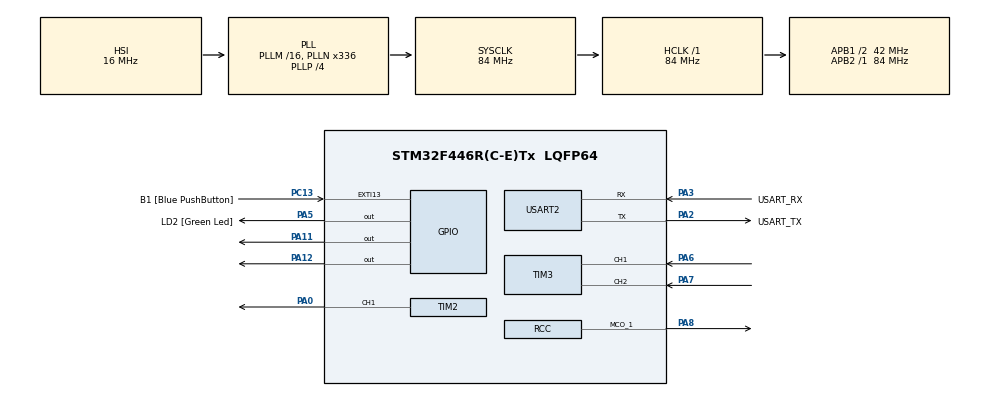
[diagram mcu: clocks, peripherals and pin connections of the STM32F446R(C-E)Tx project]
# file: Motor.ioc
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Mcu.Family=STM32F4
Mcu.Name=STM32F446R(C-E)Tx
Mcu.Package=LQFP64
NVIC.PriorityGroup=NVIC_PRIORITYGROUP_0
NVIC.TIM6_DAC_IRQn=true\:0\:0\:false\:false\:true\:true\:true\:true
PA0-WKUP.Signal=S_TIM2_CH1_ETR
PA11.Signal=GPIO_Output
PA12.Signal=GPIO_Output
PA13.GPIO_Label=TMS
PA13.Mode=Serial_Wire
PA13.Signal=SYS_JTMS-SWDIO
PA14.GPIO_Label=TCK
PA14.Mode=Serial_Wire
PA14.Signal=SYS_JTCK-SWCLK
PA2.GPIO_Label=USART_TX
PA2.Mode=Asynchronous
PA2.Signal=USART2_TX
PA3.GPIO_Label=USART_RX
PA3.Mode=Asynchronous
PA3.Signal=USART2_RX
PA5.GPIO_Label=LD2 [Green Led]
PA5.Signal=GPIO_Output
PA6.Signal=S_TIM3_CH1
PA7.Signal=S_TIM3_CH2
PA8.Mode=Clock-out-1
PA8.Signal=RCC_MCO_1
PB3.GPIO_Label=SWO
PB3.Signal=SYS_JTDO-SWO
PC13.GPIO_Label=B1 [Blue PushButton]
PC13.GPIO_ModeDefaultEXTI=GPIO_MODE_IT_FALLING
PC13.GPIO_PuPd=GPIO_NOPULL
PC13.Signal=GPXTI13
PC14-OSC32_IN.Mode=LSE-External-Oscillator
PC14-OSC32_IN.Signal=RCC_OSC32_IN
PC15-OSC32_OUT.Mode=LSE-External-Oscillator
PC15-OSC32_OUT.Signal=RCC_OSC32_OUT
PH0-OSC_IN.Mode=HSE-External-Oscillator
PH0-OSC_IN.Signal=RCC_OSC_IN
PH1-OSC_OUT.Mode=HSE-External-Oscillator
PH1-OSC_OUT.Signal=RCC_OSC_OUT
ProjectManager.HeapSize=0x200
ProjectManager.StackSize=0x400
ProjectManager.TargetToolchain=STM32CubeIDE
RCC.48MHZClocksFreq_Value=84000000
RCC.AHBFreq_Value=84000000
RCC.APB1CLKDivider=RCC_HCLK_DIV2
RCC.APB1Freq_Value=42000000
RCC.APB1TimFreq_Value=84000000
RCC.APB2Freq_Value=84000000
RCC.APB2TimFreq_Value=84000000
RCC.CortexFreq_Value=84000000
RCC.FLatency-AdvancedSettings=FLASH_LATENCY_2
RCC.HCLKFreq_Value=84000000
RCC.HSE_VALUE=8000000
RCC.HSI_VALUE=16000000
RCC.PLLN=336
RCC.PLLP=RCC_PLLP_DIV4
RCC.SYSCLKFreq_VALUE=84000000
RCC.SYSCLKSource=RCC_SYSCLKSOURCE_PLLCLK
RCC.USBFreq_Value=168000000
RCC.VCOOutputFreq_Value=336000000
SH.S_TIM2_CH1_ETR.0=TIM2_CH1,PWM Generation1 CH1
SH.S_TIM3_CH1.0=TIM3_CH1,Encoder_Interface
SH.S_TIM3_CH2.0=TIM3_CH2,Encoder_Interface
TIM2.AutoReloadPreload=TIM_AUTORELOAD_PRELOAD_ENABLE
TIM2.Channel-PWM\ Generation1\ CH1=TIM_CHANNEL_1
TIM2.Period=4199
TIM2.Prescaler=0
TIM2.Pulse-PWM\ Generation1\ CH1=0
TIM3.EncoderMode=TIM_ENCODERMODE_TI12
TIM3.IC1Polarity=TIM_ICPOLARITY_RISING
TIM6.Period=999
TIM6.Prescaler=8399
USART2.VirtualMode=VM_ASYNC
VP_TIM2_VS_ClockSourceINT.Mode=Internal
VP_TIM6_VS_ClockSourceINT.Mode=Enable_Timer
board=NUCLEO-F446RE

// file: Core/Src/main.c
/* USER CODE BEGIN Header */
/**
  ******************************************************************************
  * @file           : main.c
  * @brief          : Main program body
  ******************************************************************************
  * @attention
  *
  * Copyright (c) 2025 STMicroelectronics.
  * All rights reserved.
  *
  * This software is licensed under terms that can be found in the LICENSE file
  * in the root directory of this software component.
  * If no LICENSE file comes with this software, it is provided AS-IS.
  *
  ******************************************************************************
  */
/* USER CODE END Header */
#include "main.h"

/* USER CODE BEGIN Includes */
#include <stdio.h>
#include <math.h>
/* USER CODE END Includes */

TIM_HandleTypeDef htim2;
TIM_HandleTypeDef htim3;
TIM_HandleTypeDef htim6;

UART_HandleTypeDef huart2;

void SystemClock_Config(void);
static void MX_GPIO_Init(void);
static void MX_USART2_UART_Init(void);
static void MX_TIM3_Init(void);
static void MX_TIM6_Init(void);
static void MX_TIM2_Init(void);

/* USER CODE BEGIN 0 */
int __io_putchar(int ch)
{
  if (ch == '\n') {
    __io_putchar('\r');
  }
  HAL_UART_Transmit(&huart2, (uint8_t*)&ch, 1, HAL_MAX_DELAY);

  return 1;
}
static uint16_t CPR = 64;
static float tim6_period = 0.1;
static uint16_t ARR = 4199;

typedef struct {
	float Kp, Ki, Kd;
	float i_min, i_max;
}pid_controller;

float clamp(float value, float min, float max){
	if (value > max) return max;
	if (value < min) return min;
	return value;
}
void set_direction(int rpm_setpoint) {
    if (rpm_setpoint < 0 && HAL_GPIO_ReadPin(GPIOA, GPIO_PIN_12 != 1)) {
        // Reverse direction
        HAL_GPIO_WritePin(GPIOA, GPIO_PIN_12, GPIO_PIN_SET);
        HAL_GPIO_WritePin(GPIOA, GPIO_PIN_11, GPIO_PIN_RESET);
    } else if (rpm_setpoint >= 0 && HAL_GPIO_ReadPin(GPIOA, GPIO_PIN_12 != 0)){
        // Forward direction
        HAL_GPIO_WritePin(GPIOA, GPIO_PIN_12, GPIO_PIN_RESET);
        HAL_GPIO_WritePin(GPIOA, GPIO_PIN_11, GPIO_PIN_SET);
    }
}
float integral = 0.0;
float prev_error = 0.0;
volatile float rpm_measured;
volatile float prev_rpm_measured;
float error = 0;
float calculate_pwm(pid_controller* pid, int rpm_set){
	float rpm_target = abs(rpm_set);
	float rpm_actual = fabsf(rpm_measured);
	float prev_rpm_actual = fabsf(prev_rpm_measured);
	//Proportion
	error = rpm_target - rpm_actual;
	float p_error = error;

	if (fabsf(p_error) < 1.0f)
	    p_error = 0.0f;

	//Integral
	pid->i_max = ARR / pid->Ki;
	integral += error * tim6_period;

	integral = clamp(integral, pid->i_min, pid->i_max);

	//Derivative
	float derivative = (error - prev_error) / tim6_period;

	float pwm = (pid->Kp * p_error) + (pid->Ki * integral) + (pid->Kd * derivative);

	if(pwm > ARR) pwm = ARR;
	/*if(rpm_set > 0 && rpm_measured < 0){
		HAL_GPIO_TogglePin(GPIOA, GPIO_PIN_12);
		HAL_GPIO_TogglePin(GPIOA, GPIO_PIN_11);
	}*/
	prev_error = error;
	prev_rpm_measured = rpm_measured;
	return pwm;
}

uint16_t prev_pulse_count = 0;

pid_controller pid = {.Kp = 15.0, .Ki = 15.0, .Kd = 0.2, .i_min = 0, .i_max = 0};
int rpm_wanted = 50;
float pwm_calculated;
int time_passed;
int milisecond_passed;
uint16_t pulse_count;
void HAL_TIM_PeriodElapsedCallback(TIM_HandleTypeDef *htim)
{
  if (htim == &htim6) {
	  HAL_GPIO_TogglePin(GPIOA, GPIO_PIN_5);
	  /*pulse_count = __HAL_TIM_GET_COUNTER(&htim3);
	  int delta = (int)(pulse_count - prev_pulse_count);*/
	  int16_t delta = (int16_t)__HAL_TIM_GET_COUNTER(&htim3);
	  __HAL_TIM_SET_COUNTER(&htim3, 0);
	  float revolutions = delta / 20.0f;
	  //prev_pulse_count = pulse_count;
	  rpm_measured = (revolutions * 60)/ (CPR * tim6_period);
	  set_direction(rpm_wanted);
	  pwm_calculated = calculate_pwm(&pid, rpm_wanted);
	  printf("time: %d.%d\n", time_passed, milisecond_passed);
	  printf("rpm inpur: %d\n", rpm_wanted);
	  printf("rpm: %d\n", (int)rpm_measured);
	  __HAL_TIM_SET_COMPARE(&htim2, TIM_CHANNEL_1, pwm_calculated);
	  milisecond_passed += 1;
	  /*if (time_passed == 2)
		  rpm_wanted = 50;*/
	  if (milisecond_passed >= 10){
		  time_passed += 1;
		  milisecond_passed = 0;
	  }
  }
}

/* USER CODE END 0 */

int main(void)
{

  /* MCU Configuration--------------------------------------------------------*/

  /* Reset of all peripherals, Initializes the Flash interface and the Systick. */
  HAL_Init();

  /* Configure the system clock */
  SystemClock_Config();

  /* Initialize all configured peripherals */
  MX_GPIO_Init();
  MX_USART2_UART_Init();
  MX_TIM3_Init();
  MX_TIM6_Init();
  MX_TIM2_Init();

  /* Infinite loop */
  /* USER CODE BEGIN WHILE */
  HAL_TIM_Encoder_Start(&htim3, TIM_CHANNEL_ALL);
  HAL_TIM_Base_Start_IT(&htim6);
  HAL_TIM_PWM_Start(&htim2, TIM_CHANNEL_1);
  //HAL_GPIO_TogglePin(GPIOA, GPIO_PIN_5);
  int32_t old_value = 0;
  //HAL_GPIO_WritePin(GPIOA, GPIO_PIN_12, 0); //in2
  //HAL_GPIO_WritePin(GPIOB, GPIO_PIN_12, 0); //EN1
  HAL_GPIO_WritePin(GPIOA, GPIO_PIN_12, GPIO_PIN_RESET);
  HAL_GPIO_WritePin(GPIOA, GPIO_PIN_11, GPIO_PIN_SET);

while (1)
  {
		//__HAL_TIM_SET_COMPARE(&htim2, TIM_CHANNEL_1, 15000);
	  /*int32_t value = __HAL_TIM_GET_COUNTER(&htim3);
	    if (old_value != value) {
	      old_value = value;
	      printf("value = %lu\n", value);
	    }
	  HAL_GPIO_WritePin(GPIOA, GPIO_PIN_11, 0); //In1
	  HAL_GPIO_WritePin(GPIOA, GPIO_PIN_12, 0); //in2
	  HAL_GPIO_WritePin(GPIOB, GPIO_PIN_12, 0); //EN1*/

	  //__HAL_TIM_SET_COMPARE(&htim2, TIM_CHANNEL_1, 800); // PWM duty
	  //printf("value = %d\n", __HAL_TIM_GET_COUNTER(&htim3));
	  /*old_value = value;

	  if (HAL_GPIO_ReadPin(GPIOC, GPIO_PIN_13) == 1){
		  //HAL_GPIO_WritePin(GPIOA, GPIO_PIN_11, GPIO_PIN_SET);
		  HAL_GPIO_WritePin(GPIOA, GPIO_PIN_11, GPIO_PIN_RESET);
		  HAL_GPIO_WritePin(GPIOA, GPIO_PIN_5, 0);
	  } else {
		  HAL_GPIO_WritePin(GPIOA, GPIO_PIN_5, 1);
		  HAL_GPIO_WritePin(GPIOA, GPIO_PIN_11, GPIO_PIN_SET);
	  }

	  int r = 4199;
	  int rpm_wanted = 50;

	  printf("rpm = %d\n", rpm);
	  HAL_Delay(10);*/

	  //HAL_TIM_SET_COMPARE(&htim3, TIM_CHANNEL_2, calc_pwm(g));
	  //__HAL_TIM_SET_COMPARE(&htim3, TIM_CHANNEL_3, calc_pwm(r));
	  //pulse_count = 0;
	  //HAL_Delay(1000);  // wait 1 second
  }
    /* USER CODE END WHILE */

}

void SystemClock_Config(void)
{
  RCC_OscInitTypeDef RCC_OscInitStruct = {0};
  RCC_ClkInitTypeDef RCC_ClkInitStruct = {0};

  /** Configure the main internal regulator output voltage
  */
  __HAL_RCC_PWR_CLK_ENABLE();
  __HAL_PWR_VOLTAGESCALING_CONFIG(PWR_REGULATOR_VOLTAGE_SCALE3);

  /** Initializes the RCC Oscillators according to the specified parameters
  * in the RCC_OscInitTypeDef structure.
  */
  RCC_OscInitStruct.OscillatorType = RCC_OSCILLATORTYPE_HSI;
  RCC_OscInitStruct.HSIState = RCC_HSI_ON;
  RCC_OscInitStruct.HSICalibrationValue = RCC_HSICALIBRATION_DEFAULT;
  RCC_OscInitStruct.PLL.PLLState = RCC_PLL_ON;
  RCC_OscInitStruct.PLL.PLLSource = RCC_PLLSOURCE_HSI;
  RCC_OscInitStruct.PLL.PLLM = 16;
  RCC_OscInitStruct.PLL.PLLN = 336;
  RCC_OscInitStruct.PLL.PLLP = RCC_PLLP_DIV4;
  RCC_OscInitStruct.PLL.PLLQ = 2;
  RCC_OscInitStruct.PLL.PLLR = 2;
  if (HAL_RCC_OscConfig(&RCC_OscInitStruct) != HAL_OK)
  {
    Error_Handler();
  }

  /** Initializes the CPU, AHB and APB buses clocks
  */
  RCC_ClkInitStruct.ClockType = RCC_CLOCKTYPE_HCLK|RCC_CLOCKTYPE_SYSCLK
                              |RCC_CLOCKTYPE_PCLK1|RCC_CLOCKTYPE_PCLK2;
  RCC_ClkInitStruct.SYSCLKSource = RCC_SYSCLKSOURCE_PLLCLK;
  RCC_ClkInitStruct.AHBCLKDivider = RCC_SYSCLK_DIV1;
  RCC_ClkInitStruct.APB1CLKDivider = RCC_HCLK_DIV2;
  RCC_ClkInitStruct.APB2CLKDivider = RCC_HCLK_DIV1;

  if (HAL_RCC_ClockConfig(&RCC_ClkInitStruct, FLASH_LATENCY_2) != HAL_OK)
  {
    Error_Handler();
  }
  HAL_RCC_MCOConfig(RCC_MCO1, RCC_MCO1SOURCE_HSI, RCC_MCODIV_1);
}

static void MX_TIM2_Init(void)
{

  TIM_ClockConfigTypeDef sClockSourceConfig = {0};
  TIM_MasterConfigTypeDef sMasterConfig = {0};
  TIM_OC_InitTypeDef sConfigOC = {0};

  htim2.Instance = TIM2;
  htim2.Init.Prescaler = 0;
  htim2.Init.CounterMode = TIM_COUNTERMODE_UP;
  htim2.Init.Period = 4199;
  htim2.Init.ClockDivision = TIM_CLOCKDIVISION_DIV1;
  htim2.Init.AutoReloadPreload = TIM_AUTORELOAD_PRELOAD_ENABLE;
  if (HAL_TIM_Base_Init(&htim2) != HAL_OK)
  {
    Error_Handler();
  }
  sClockSourceConfig.ClockSource = TIM_CLOCKSOURCE_INTERNAL;
  if (HAL_TIM_ConfigClockSource(&htim2, &sClockSourceConfig) != HAL_OK)
  {
    Error_Handler();
  }
  if (HAL_TIM_PWM_Init(&htim2) != HAL_OK)
  {
    Error_Handler();
  }
  sMasterConfig.MasterOutputTrigger = TIM_TRGO_RESET;
  sMasterConfig.MasterSlaveMode = TIM_MASTERSLAVEMODE_DISABLE;
  if (HAL_TIMEx_MasterConfigSynchronization(&htim2, &sMasterConfig) != HAL_OK)
  {
    Error_Handler();
  }
  sConfigOC.OCMode = TIM_OCMODE_PWM1;
  sConfigOC.Pulse = 0;
  sConfigOC.OCPolarity = TIM_OCPOLARITY_HIGH;
  sConfigOC.OCFastMode = TIM_OCFAST_DISABLE;
  if (HAL_TIM_PWM_ConfigChannel(&htim2, &sConfigOC, TIM_CHANNEL_1) != HAL_OK)
  {
    Error_Handler();
  }
  HAL_TIM_MspPostInit(&htim2);

}

static void MX_TIM3_Init(void)
{

  TIM_Encoder_InitTypeDef sConfig = {0};
  TIM_MasterConfigTypeDef sMasterConfig = {0};

  htim3.Instance = TIM3;
  htim3.Init.Prescaler = 0;
  htim3.Init.CounterMode = TIM_COUNTERMODE_UP;
  htim3.Init.Period = 65535;
  htim3.Init.ClockDivision = TIM_CLOCKDIVISION_DIV1;
  htim3.Init.AutoReloadPreload = TIM_AUTORELOAD_PRELOAD_DISABLE;
  sConfig.EncoderMode = TIM_ENCODERMODE_TI12;
  sConfig.IC1Polarity = TIM_ICPOLARITY_RISING;
  sConfig.IC1Selection = TIM_ICSELECTION_DIRECTTI;
  sConfig.IC1Prescaler = TIM_ICPSC_DIV1;
  sConfig.IC1Filter = 0;
  sConfig.IC2Polarity = TIM_ICPOLARITY_RISING;
  sConfig.IC2Selection = TIM_ICSELECTION_DIRECTTI;
  sConfig.IC2Prescaler = TIM_ICPSC_DIV1;
  sConfig.IC2Filter = 0;
  if (HAL_TIM_Encoder_Init(&htim3, &sConfig) != HAL_OK)
  {
    Error_Handler();
  }
  sMasterConfig.MasterOutputTrigger = TIM_TRGO_RESET;
  sMasterConfig.MasterSlaveMode = TIM_MASTERSLAVEMODE_DISABLE;
  if (HAL_TIMEx_MasterConfigSynchronization(&htim3, &sMasterConfig) != HAL_OK)
  {
    Error_Handler();
  }

}

static void MX_TIM6_Init(void)
{

  TIM_MasterConfigTypeDef sMasterConfig = {0};

  htim6.Instance = TIM6;
  htim6.Init.Prescaler = 8399;
  htim6.Init.CounterMode = TIM_COUNTERMODE_UP;
  htim6.Init.Period = 999;
  htim6.Init.AutoReloadPreload = TIM_AUTORELOAD_PRELOAD_DISABLE;
  if (HAL_TIM_Base_Init(&htim6) != HAL_OK)
  {
    Error_Handler();
  }
  sMasterConfig.MasterOutputTrigger = TIM_TRGO_RESET;
  sMasterConfig.MasterSlaveMode = TIM_MASTERSLAVEMODE_DISABLE;
  if (HAL_TIMEx_MasterConfigSynchronization(&htim6, &sMasterConfig) != HAL_OK)
  {
    Error_Handler();
  }

}

static void MX_USART2_UART_Init(void)
{

  huart2.Instance = USART2;
  huart2.Init.BaudRate = 115200;
  huart2.Init.WordLength = UART_WORDLENGTH_8B;
  huart2.Init.StopBits = UART_STOPBITS_1;
  huart2.Init.Parity = UART_PARITY_NONE;
  huart2.Init.Mode = UART_MODE_TX_RX;
  huart2.Init.HwFlowCtl = UART_HWCONTROL_NONE;
  huart2.Init.OverSampling = UART_OVERSAMPLING_16;
  if (HAL_UART_Init(&huart2) != HAL_OK)
  {
    Error_Handler();
  }

}

static void MX_GPIO_Init(void)
{
  GPIO_InitTypeDef GPIO_InitStruct = {0};

  /* GPIO Ports Clock Enable */
  __HAL_RCC_GPIOC_CLK_ENABLE();
  __HAL_RCC_GPIOH_CLK_ENABLE();
  __HAL_RCC_GPIOA_CLK_ENABLE();
  __HAL_RCC_GPIOB_CLK_ENABLE();

  /*Configure GPIO pin Output Level */
  HAL_GPIO_WritePin(GPIOA, LD2_Pin|GPIO_PIN_11|GPIO_PIN_12, GPIO_PIN_RESET);

  /*Configure GPIO pin : B1_Pin */
  GPIO_InitStruct.Pin = B1_Pin;
  GPIO_InitStruct.Mode = GPIO_MODE_IT_FALLING;
  GPIO_InitStruct.Pull = GPIO_NOPULL;
  HAL_GPIO_Init(B1_GPIO_Port, &GPIO_InitStruct);

  /*Configure GPIO pins : LD2_Pin PA11 PA12 */
  GPIO_InitStruct.Pin = LD2_Pin|GPIO_PIN_11|GPIO_PIN_12;
  GPIO_InitStruct.Mode = GPIO_MODE_OUTPUT_PP;
  GPIO_InitStruct.Pull = GPIO_NOPULL;
  GPIO_InitStruct.Speed = GPIO_SPEED_FREQ_LOW;
  HAL_GPIO_Init(GPIOA, &GPIO_InitStruct);

  /*Configure GPIO pin : PA8 */
  GPIO_InitStruct.Pin = GPIO_PIN_8;
  GPIO_InitStruct.Mode = GPIO_MODE_AF_PP;
  GPIO_InitStruct.Pull = GPIO_NOPULL;
  GPIO_InitStruct.Speed = GPIO_SPEED_FREQ_LOW;
  GPIO_InitStruct.Alternate = GPIO_AF0_MCO;
  HAL_GPIO_Init(GPIOA, &GPIO_InitStruct);

}

void Error_Handler(void)
{
  __disable_irq();
  while (1)
  {
  }
}
